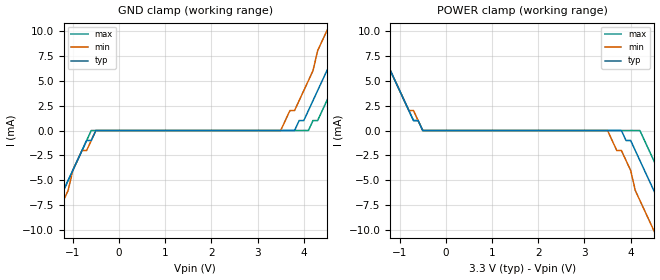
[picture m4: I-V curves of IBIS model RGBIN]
| [Disclaimer] This IBIS model is provided "AS IS, WHERE IS, AND WITH NO
| From x980xx.ibs, X980xx, Intersil, Inc.
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|   RGBIN MODEL
[Model]   RGBIN
Model_type   Input
Vinl = 0.8Vc
Vinh = 2.5V
C_comp   3pF   3pF   3pF
|   typ   min   max
[Voltage Range]   3.3   3   3.6
[Temperature Range]  25   85   -40
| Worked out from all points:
|   GND clamp passes 1 mA (typ) near -0.60 V on its own axis
|   POWER clamp passes 1 mA (typ) near -0.60 V on its own axis
[GND_Clamp]
|V   I(typ)   I(min)   i(max)
-3.3V     -31mA      -32mA      -30mA
-1.7V     -12mA      -12mA      -11mA
-1.5V     -10mA      -10mA      -9mA
-1.1V     -5mA       -6mA       -5mA
-900mV    -3mA       -3mA       -3mA
-600mV    -1mA       -1mA       0A
3.5V      0A         0A         0A
4.1V      2mA        5mA        0A
4.5V      6mA        10mA       3mA
4.9V      10mA       14mA       7mA
5.2V      14mA       18mA       10mA
6.6V      31mA       35mA       26mA
[Power_Clamp]
|V   I(typ)   I(min)   i(max)
|V   I(typ)   I(min)   i(max)
-3.3V     31mA       31mA       29mA
-1.6V     10mA       11mA       10mA
-1.3V     7mA        8mA        7mA
-800mV    2mA        2mA        2mA
-500mV    0A         0A         0A
3.5V      0A         0A         0A
3.8V      0A         -2mA       0A
4.2V      -3mA       -7mA       0A
4.5V      -6mA       -10mA      -3mA
4.8V      -10mA      -14mA      -6mA
5.2V      -14mA      -18mA      -10mA
6.6V      -31mA      -36mA      -26mA
